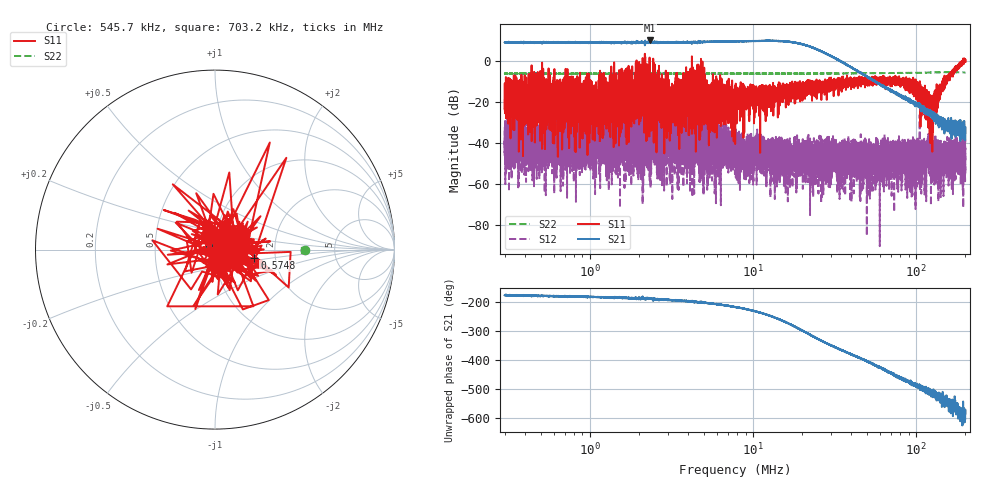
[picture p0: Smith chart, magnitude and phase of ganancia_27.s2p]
# Hz S DB R 50
! CMT, M5065, 19127446, 24.2.4/2
! Date: 11/1/2024 3:28:12 PM
! Data: Format (Calibration Info)
! Freq	S11:dB/Ang(F2)	S21:dB/Ang(F2)	S12:dB/Ang(F2)	S22:dB/Ang(F2)
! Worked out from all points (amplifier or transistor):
!   9000 points, 300 kHz to 200 MHz, reference 50 ohm
!   highest |S21| = 10.2 dB at 2.32 MHz (marker M1)
!   |S21| within 3 dB of that: start of sweep to 22.24 MHz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
!   unconditionally stable (mu >= 1): 2.518 MHz to 4.215 MHz; 4.89 MHz to 189.9 MHz; 190.9 MHz to 193.1 MHz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
!   at 886.8 kHz: K = 18.42, MAG = 10.5 dB, |S12| = -43.1 dB
!   at 7.749 MHz: K = 51.29, MAG = 11.1 dB, |S12| = -52.7 dB
!   at 200 MHz: K = 129.60, MAG = -20.4 dB, |S12| = -42.2 dB
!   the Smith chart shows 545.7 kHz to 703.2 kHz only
!   S11 on the Smith chart (normalised r, x): 545.7 kHz: 1.14, +0.02; 574.8 kHz: 1.55, -0.15; 703.2 kHz: 1.07, -0.25
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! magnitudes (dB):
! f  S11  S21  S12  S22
! 300 kHz  -23.1  9.2  -38.6  -6.1
! 313.5 kHz  -22.6  9.3  -36.0  -6.1
! 545.7 kHz  -23.5  9.2  -32.9  -6.0
! 574.8 kHz  -13.0  9.2  -22.2  -6.0
! 703.2 kHz  -18.2  9.3  -37.9  -6.1
! 886.8 kHz  -20.7  9.2  -43.1  -6.0
! 1.199 MHz  -19.8  9.2  -33.2  -6.0
! 1.283 MHz  -10.3  9.1  -32.2  -6.2
! 1.376 MHz  -20.4  9.2  -40.1  -6.0
! 2.32 MHz  1.8  10.2  -22.3  -5.7
! 2.621 MHz  -14.2  9.2  -43.5  -6.0
! 4.523 MHz  -20.9  9.5  -40.1  -6.0
! 4.841 MHz  -4.3  9.6  -21.1  -5.8
! 7.749 MHz  -15.7  9.8  -52.7  -6.0
! 22.91 MHz  -13.5  6.8  -52.2  -6.0
! 31.48 MHz  -14.0  1.7  -51.5  -6.0
! 33.52 MHz  -10.7  0.4  -42.4  -6.0
! 67.71 MHz  -8.9  -13.5  -41.4  -5.7
! 96.68 MHz  -17.1  -20.1  -42.7  -5.6
! 124 MHz  -37.9  -26.0  -44.0  -5.5
! 148 MHz  -10.3  -31.2  -41.6  -5.3
! 200 MHz  -0.2  -34.8  -42.2  -5.4
